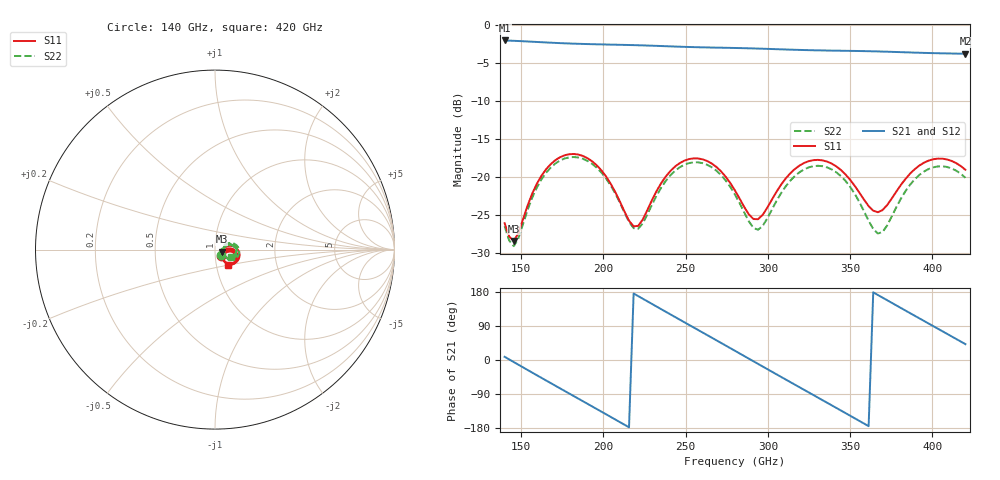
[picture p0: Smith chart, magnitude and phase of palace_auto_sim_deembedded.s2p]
! Created with skrf 1.11.0 (http://scikit-rf.org).
# GHz S DB R 50.0
!freq dBS11 angS11 dBS21 angS21 dBS12 angS12 dBS22 angS22
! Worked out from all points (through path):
!   101 points, 140 GHz to 420 GHz, reference 50 ohm
!   highest |S21| = -1.99 dB at 140 GHz (marker M1); lowest = -3.7 dB at 420 GHz (marker M2)
!   group delay of S21, straight-line fit = 6.81 ps
!   lowest |S11| = -28.4 dB at 145.6 GHz (marker M3), VSWR 1.08, Z = 53.8 - j1.23 ohm
!   |S11| at or under -10 dB: start of sweep to end of sweep
!   |S22| runs from -29.1 to -17.3 dB; largest |S21 - S12| = 1.2e-13
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140  -26.05 -49.7  -1.99 8.5  -1.99 8.5  -26.45 -41.6
145.6  -28.39 -17.5  -2.04 -5.5  -2.04 -5.5  -29.07 -8.5
156.8  -22.14 15.0  -2.16 -33.3  -2.16 -33.3  -22.68 26.8
168  -18.28 2.7  -2.29 -60.9  -2.29 -60.9  -18.73 15.3
187.6  -17.20 -30.3  -2.45 -108.8  -2.45 -108.8  -17.57 -16.4
201.6  -19.88 -49.6  -2.53 -143.1  -2.53 -143.1  -20.15 -34.9
212.8  -24.50 -47.5  -2.58 -170.7  -2.58 -170.7  -24.63 -33.5
221.2  -26.39 -16.1  -2.63 168.6  -2.63 168.6  -26.78 -3.4
235.2  -20.76 3.8  -2.73 134.0  -2.73 134.0  -21.35 19.1
246.4  -18.14 -9.2  -2.82 106.5  -2.82 106.5  -18.69 7.0
257.6  -17.53 -26.6  -2.89 79.2  -2.89 79.2  -18.04 -10.0
280  -21.75 -51.4  -2.98 24.3  -2.98 24.3  -22.29 -35.8
294  -25.52 -21.8  -3.06 -10.2  -3.06 -10.2  -26.91 -5.9
310.8  -20.17 -3.6  -3.18 -51.4  -3.18 -51.4  -21.20 17.7
327.6  -17.75 -23.7  -3.28 -92.4  -3.28 -92.4  -18.54 -2.8
338.8  -18.21 -39.2  -3.33 -119.7  -3.33 -119.7  -18.97 -19.4
352.8  -21.15 -50.7  -3.37 -153.9  -3.37 -153.9  -22.20 -34.0
366.8  -24.61 -28.6  -3.44 171.6  -3.44 171.6  -27.40 -9.2
375.2  -22.81 -10.0  -3.49 151.0  -3.49 151.0  -25.18 18.8
397.6  -17.81 -22.0  -3.65 96.4  -3.65 96.4  -18.92 6.1
408.8  -17.66 -36.8  -3.70 69.2  -3.70 69.2  -18.65 -10.6
420  -19.01 -49.5  -3.74 41.9  -3.74 41.9  -20.07 -25.8
